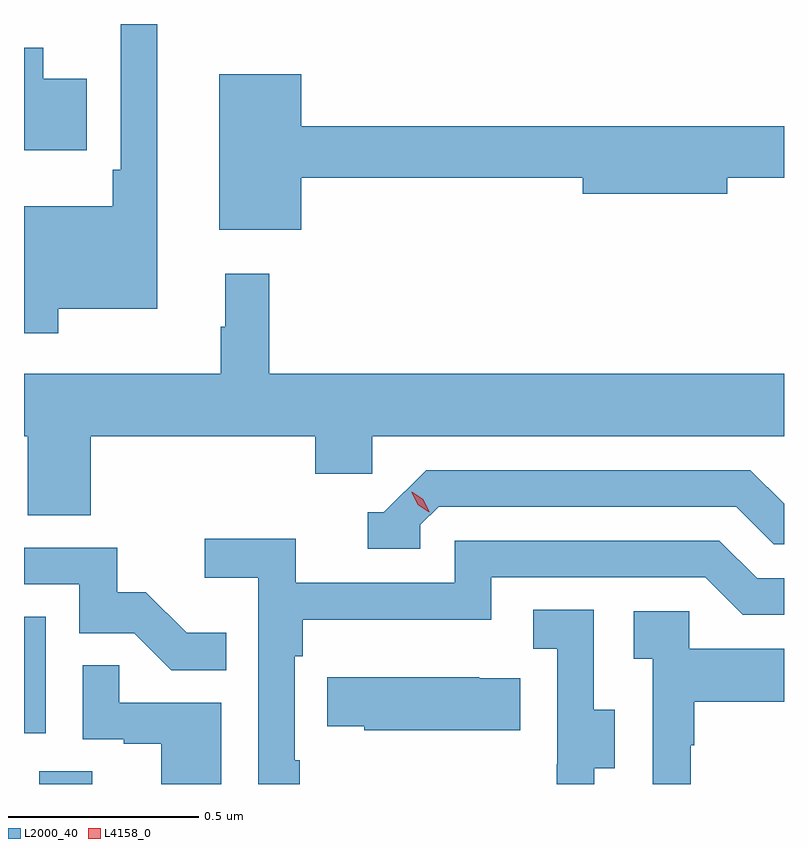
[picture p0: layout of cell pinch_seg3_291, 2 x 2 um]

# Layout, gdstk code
import gdstk
lib = gdstk.Library(unit=1e-6, precision=1e-09)
def R(c, l, rs):  # rectangles x0, y0, x1, y1
    for r in rs: c.add(gdstk.rectangle(r[:2], r[2:], *l))
def P(c, l, *ps):  # polygons
    for p in ps: c.add(gdstk.Polygon(p, *l))
L2000_40 = (2000, 40)
L4158_0 = (4158, 0)

pinch_seg3_291 = lib.new_cell('pinch_seg3_291')
R(pinch_seg3_291, L2000_40, [(921.821,715.985,921.961,716.018), (921.781,716.118,921.838,716.425)])
P(pinch_seg3_291, L2000_40, [(921.871,717.236),(922.132,717.236),(922.132,717.985),(922.035,717.985),(922.035,717.601),(922.015,717.601),(922.015,717.505),(921.781,717.505),(921.781,717.171),(921.871,717.171)],
  [(921.946,717.841),(921.832,717.841),(921.832,717.922),(921.781,717.922),(921.781,717.653),(921.946,717.653)],
  [(922.51,717.58),(923.252,717.58),(923.252,717.538),(923.632,717.538),(923.632,717.58),(923.781,717.58),(923.781,717.716),(922.51,717.716),(922.51,717.853),(922.295,717.853),(922.295,717.443),(922.51,717.443)],
  [(921.956,716.9),(922.547,716.9),(922.547,716.802),(922.698,716.802),(922.698,716.9),(923.781,716.9),(923.781,717.064),(922.427,717.064),(922.427,717.328),(922.31,717.328),(922.31,717.188),(922.299,717.188),(922.299,717.064),(921.781,717.064),(921.781,716.9),(921.791,716.9),(921.791,716.692),(921.956,716.692)],
  [(922.824,716.667),(922.872,716.715),(923.655,716.715),(923.754,716.616),(923.781,716.616),(923.781,716.722),(923.692,716.811),(922.839,716.811),(922.728,716.7),(922.685,716.7),(922.685,716.604),(922.824,716.604)],
  [(922.507,716.048),(922.494,716.048),(922.494,716.321),(922.514,716.321),(922.514,716.417),(923.01,716.417),(923.01,716.529),(923.574,716.529),(923.673,716.43),(923.781,716.43),(923.781,716.526),(923.71,716.526),(923.611,716.625),(922.914,716.625),(922.914,716.514),(922.496,716.514),(922.496,716.63),(922.257,716.63),(922.257,716.528),(922.398,716.528),(922.398,715.985),(922.507,715.985)],
  [(922.313,716.383),(922.209,716.383),(922.102,716.49),(922.026,716.49),(922.026,716.607),(921.781,716.607),(921.781,716.511),(921.927,716.511),(921.927,716.382),(922.071,716.382),(922.169,716.284),(922.313,716.284)],
  [(923.281,716.026),(923.335,716.026),(923.335,716.181),(923.28,716.181),(923.28,716.444),(923.121,716.444),(923.121,716.341),(923.184,716.341),(923.184,716.037),(923.183,716.037),(923.183,715.985),(923.281,715.985)],
  [(923.535,716.087),(923.545,716.087),(923.545,716.201),(923.781,716.201),(923.781,716.341),(923.532,716.341),(923.532,716.439),(923.385,716.439),(923.385,716.315),(923.436,716.315),(923.436,715.985),(923.535,715.985)],
  [(922.3,716.199),(922.031,716.199),(922.031,716.297),(921.936,716.297),(921.936,716.103),(922.043,716.103),(922.043,716.091),(922.142,716.091),(922.142,715.985),(922.3,715.985)],
  [(923.087,716.263),(922.979,716.263),(922.979,716.266),(922.579,716.266),(922.579,716.137),(922.677,716.137),(922.677,716.126),(923.087,716.126)])
P(pinch_seg3_291, L4158_0, [(922.847,716.7),(922.817,716.72),(922.801,716.753),(922.801,716.754),(922.801,716.754),(922.832,716.734),(922.847,716.701),(922.847,716.7)])

lib.write_gds('pinch_seg3_291.gds')
